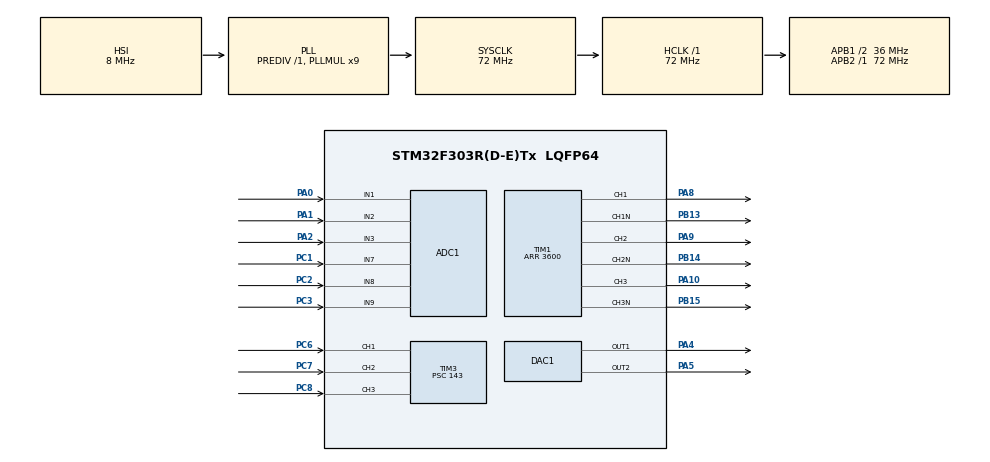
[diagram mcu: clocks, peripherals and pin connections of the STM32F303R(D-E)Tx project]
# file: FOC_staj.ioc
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ADC1.EnableRegularConversion=DISABLE
ADC1.ExternalTrigInjecConv=ADC_EXTERNALTRIGINJECCONV_T1_CC4
ADC1.ExternalTrigInjecConvEdge=ADC_EXTERNALTRIGINJECCONV_EDGE_RISING
ADC1.InjNumberOfConversion=4
ADC1.InjectedChannel-13\#ChannelInjectedConversion=ADC_CHANNEL_2
ADC1.InjectedChannel-7\#ChannelInjectedConversion=ADC_CHANNEL_7
ADC1.InjectedChannel-8\#ChannelInjectedConversion=ADC_CHANNEL_8
ADC1.InjectedChannel-9\#ChannelInjectedConversion=ADC_CHANNEL_9
ADC1.InjectedConvMode=None
ADC1.InjectedOffset-13\#ChannelInjectedConversion=0
ADC1.InjectedOffset-7\#ChannelInjectedConversion=0
ADC1.InjectedOffset-8\#ChannelInjectedConversion=0
ADC1.InjectedOffset-9\#ChannelInjectedConversion=0
ADC1.InjectedOffsetNumber-13\#ChannelInjectedConversion=ADC_OFFSET_NONE
ADC1.InjectedOffsetNumber-7\#ChannelInjectedConversion=ADC_OFFSET_NONE
ADC1.InjectedOffsetNumber-8\#ChannelInjectedConversion=ADC_OFFSET_NONE
ADC1.InjectedOffsetNumber-9\#ChannelInjectedConversion=ADC_OFFSET_NONE
ADC1.InjectedRank-13\#ChannelInjectedConversion=4
ADC1.InjectedRank-7\#ChannelInjectedConversion=1
ADC1.InjectedRank-8\#ChannelInjectedConversion=2
ADC1.InjectedRank-9\#ChannelInjectedConversion=3
ADC1.InjectedSamplingTime-13\#ChannelInjectedConversion=ADC_SAMPLETIME_1CYCLE_5
ADC1.InjectedSamplingTime-7\#ChannelInjectedConversion=ADC_SAMPLETIME_4CYCLES_5
ADC1.InjectedSamplingTime-8\#ChannelInjectedConversion=ADC_SAMPLETIME_4CYCLES_5
ADC1.InjectedSamplingTime-9\#ChannelInjectedConversion=ADC_SAMPLETIME_4CYCLES_5
ADC1.InjectedSamplingTimeOPAMP-13\#ChannelInjectedConversion=ADC_SAMPLETIME_19CYCLES_5
ADC1.InjectedSamplingTimeOPAMP-7\#ChannelInjectedConversion=ADC_SAMPLETIME_61CYCLES_5
ADC1.InjectedSamplingTimeOPAMP-8\#ChannelInjectedConversion=ADC_SAMPLETIME_61CYCLES_5
ADC1.InjectedSamplingTimeOPAMP-9\#ChannelInjectedConversion=ADC_SAMPLETIME_61CYCLES_5
ADC1.QueueInjectedContext=DISABLE
ADC1.Rank4_Channel=ADC_CHANNEL_2
ADC1.master=1
Mcu.Family=STM32F3
Mcu.Name=STM32F303R(D-E)Tx
Mcu.Package=LQFP64
NVIC.ADC1_2_IRQn=true\:1\:0\:true\:false\:true\:true\:true\:true
NVIC.PriorityGroup=NVIC_PRIORITYGROUP_4
NVIC.TIM1_CC_IRQn=true\:0\:0\:true\:false\:true\:true\:true\:true
NVIC.TIM3_IRQn=true\:2\:0\:true\:false\:true\:true\:true\:true
PA0.Mode=IN1-Single-Ended
PA0.Signal=ADC1_IN1
PA1.Mode=IN2-Single-Ended
PA1.Signal=ADC1_IN2
PA10.Signal=S_TIM1_CH3
PA13.Mode=Serial_Wire
PA13.Signal=SYS_JTMS-SWDIO
PA14.Mode=Serial_Wire
PA14.Signal=SYS_JTCK-SWCLK
PA2.Mode=IN3-Single-Ended
PA2.Signal=ADC1_IN3
PA4.Signal=COMP_DAC11_group
PA5.Signal=COMP_DAC12_group
PA8.Signal=S_TIM1_CH1
PA9.Signal=S_TIM1_CH2
PB13.Mode=PWM Generation1 CH1 CH1N
PB13.Signal=TIM1_CH1N
PB14.Mode=PWM Generation2 CH2 CH2N
PB14.Signal=TIM1_CH2N
PB15.Mode=PWM Generation3 CH3 CH3N
PB15.Signal=TIM1_CH3N
PC1.Signal=ADCx_IN7
PC2.Signal=ADCx_IN8
PC3.Signal=ADCx_IN9
PC6.Signal=S_TIM3_CH1
PC7.Signal=S_TIM3_CH2
PC8.Signal=S_TIM3_CH3
ProjectManager.HeapSize=0x200
ProjectManager.StackSize=0x400
ProjectManager.TargetToolchain=STM32CubeIDE
RCC.AHBFreq_Value=72000000
RCC.APB1CLKDivider=RCC_HCLK_DIV2
RCC.APB1Freq_Value=36000000
RCC.APB1TimFreq_Value=72000000
RCC.APB2Freq_Value=72000000
RCC.APB2TimFreq_Value=72000000
RCC.CortexFreq_Value=72000000
RCC.HCLKFreq_Value=72000000
RCC.HSE_VALUE=8000000
RCC.HSI_VALUE=8000000
RCC.LSE_VALUE=32768
RCC.PLLMUL=RCC_PLL_MUL9
RCC.SYSCLKFreq_VALUE=72000000
RCC.SYSCLKSourceVirtual=RCC_SYSCLKSOURCE_PLLCLK
RCC.TIM1Selection=RCC_TIM1CLK_PLLCLK
RCC.USBFreq_Value=72000000
SH.ADCx_IN7.0=ADC1_IN7,IN7-Single-Ended
SH.ADCx_IN8.0=ADC1_IN8,IN8-Single-Ended
SH.ADCx_IN9.0=ADC1_IN9,IN9-Single-Ended
SH.COMP_DAC11_group.0=DAC1_OUT1,DAC_OUT1
SH.COMP_DAC12_group.0=DAC1_OUT2,Enable_DAC_OUT2
SH.S_TIM1_CH1.0=TIM1_CH1,PWM Generation1 CH1 CH1N
SH.S_TIM1_CH2.0=TIM1_CH2,PWM Generation2 CH2 CH2N
SH.S_TIM1_CH3.0=TIM1_CH3,PWM Generation3 CH3 CH3N
SH.S_TIM3_CH1.0=TIM3_CH1,Xored_Inputs_Hall_Sensor_Interface
SH.S_TIM3_CH2.0=TIM3_CH2,Xored_Inputs_Hall_Sensor_Interface
SH.S_TIM3_CH3.0=TIM3_CH3,Xored_Inputs_Hall_Sensor_Interface
TIM1.Channel-Output\ Compare4\ No\ Output=TIM_CHANNEL_4
TIM1.Channel-PWM\ Generation1\ CH1\ CH1N=TIM_CHANNEL_1
TIM1.Channel-PWM\ Generation2\ CH2\ CH2N=TIM_CHANNEL_2
TIM1.Channel-PWM\ Generation3\ CH3\ CH3N=TIM_CHANNEL_3
TIM1.CounterMode=TIM_COUNTERMODE_CENTERALIGNED1
TIM1.DeadTime=42
TIM1.OCMode_4=TIM_OCMODE_TOGGLE
TIM1.Period=3600
TIM1.Pulse-Output\ Compare4\ No\ Output=3595
TIM1.RepetitionCounter=1
TIM1.TIM_MasterOutputTrigger=TIM_TRGO_OC4REF
TIM1.TIM_MasterSlaveMode=TIM_MASTERSLAVEMODE_DISABLE
TIM3.IC1Filter=15
TIM3.Prescaler=143
VP_TIM1_VS_no_output4.Mode=Output Compare4 No Output
board=custom

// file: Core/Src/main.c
/* USER CODE BEGIN Header */
/**
  ******************************************************************************
  * @file           : main.c
  * @brief          : Main program body
  ******************************************************************************
  * @attention
  *
  * Copyright (c) 2026 STMicroelectronics.
  * All rights reserved.
  *
  * This software is licensed under terms that can be found in the LICENSE file
  * in the root directory of this software component.
  * If no LICENSE file comes with this software, it is provided AS-IS.
  *
  ******************************************************************************
  */
/* USER CODE END Header */
#include "main.h"

/* USER CODE BEGIN Includes */

#include "acildurum.h"
#include "analog_veri_okuma.h"

#if SPEED_TEST
#include "test_spd.h"
#endif
#if DQ_TEST
#include "test_dq.h"
#endif
#if TEST
#include "test.h"
#endif
/* USER CODE END Includes */

ADC_HandleTypeDef hadc1;

DAC_HandleTypeDef hdac1;

TIM_HandleTypeDef htim1;
TIM_HandleTypeDef htim3;

/* USER CODE BEGIN PV */

/**
 * @brief Filtrelenmiş DC bara (VBUS) gerilimi [V].
 * @note  `HAL_ADCEx_InjectedConvCpltCallback()` içinde alçak geçiren
 *        filtre ile güncellenir (bkz. foc_interrupt.c).
 */
volatile float_t V_dc = 28.0f;

/** @brief VBUS ölçüm gerilim bölücüsünün (voltage divider) oranı. */
float_t VBUS_DIVIDER_RATIO = 19.25f;

/**
 * @brief  Uygulamadaki motorun (Motor 1) tüm durum, parametre, PI
 *         regülatörü, gözlemci ve donanım bağlantı bilgilerini tutan
 *         ana `motor` yapısı örneği.
 *
 * Burada verilen başlangıç değerleri; Hall ofseti, kutup çifti sayısı,
 * akım sensörü ofsetleri, hız/akım PI kazançları, Hall periyodu asimetri
 * kompanzasyon tablosu (`hall_comp_lut`) ve ilgili zamanlayıcı/ADC/GPIO
 * donanım eşleştirmelerini (PWM_TIMER, HALL_TIMER, ADC_TIMER, Hall
 * pinleri) içerir.
 */
motor MOTOR_1= {
	.STATUS = {
		.ALIGNED = false,
		.HALL_ERROR_0 = 0,
		.HALL_ERROR_7 = 0,
		.STOPPED_FAULT = false,
		.STOPPED_FAULT_COUNT = 0,
		.STOPPED = true,
		.STOPPED_TIMEOUT = 300,
		.rotor_angle = 0,
		.rotor_angle_interp = 0,
		.rotor_rpm = 0,
		.hall_rpm = 0,
		.kama_rpm = 0,
		.Id_curr = 0.0f,
		.Iq_curr = 0.0f,
		.Ia_curr = 0.0f,
		.Ib_curr = 0.0f,
		.Ic_curr = 0.0f,
		.Ia_curr_map = 0.0f,
		.Ib_curr_map = 0.0f,
		.Ic_curr_map = 0.0f,
		.spdcnt = 0,
		.READY = false,
		.tim = 0,
		.tim_last = 0,
		.hall_state = 0,
		.PWM_A_DUTY =  0,
		.PWM_B_DUTY =  0,
		.PWM_C_DUTY =  0,
		.period = 0,
		.MOE_ENABLE = 1,
		.rotor_accel = 0,
		.gecersiz_hall_okumasi = 0,
		.BRAKE = false,
		.advance_angle = 0,
		.inst_rpm = 0,
		.I_alpha = 0,
		.I_beta = 0,
	},
	.PARAMS = {
		.NUM_OF_POLE_PAIRS = 2,
		.HALL_OFSET = 90,
		.MAX_RPM_ACCEL = 0,
		.Ia_offset = 1990.0f,
		.Ib_offset = 1999.0f,
		.Ic_offset = 2005.0f,
		.MIN_RPM = 400,
		.MAX_RPM = 9000,
		.CIRCULAR_LIM = true,
		.HIGH_Z_BREAK = true,
		.Ls = 0.0000321f,
		.psi_m =0.007518f,
		.FF = true,
		.omega_e = 0,
		.FW = false,
		.FW_main = false,
		.FW_CONSTANT = 0.015f,
		.hall_comp_lut = {
		                1.000f, 1.000f, 1.000f, 1.000f, 1.000f, 1.000f, 1.000f
		        },
		.Rs = 0.1265f,
		.MAX_WO_FW = 8800,
		.SHUNT_DIVIDER_RATIO = 33.132f,
		.SPEED_PI = {
				.SPEED_LOOP_PERIOD_MS = 5U,
				.SPEED_INTEGRAL_LIM = 400.0f,
				.Speed_integral = 0,
				.IQ_REF_LIMIT = 20.0f,
				.kp = 0.0015f,
				.ki = 0.00015f,
				.E = 0,

			},
		.DQ_PI = {
			.Id_integral_lim = 2800.0f,
			.Iq_integral_lim = 2800.0f,
			.Iq_integral = 0.0f,
			.Id_integral = 0.0f,
			.Id_kp = 0.02f,
			.Id_ki = 0.012f,
			.Iq_kp = 0.02f,
			.Iq_ki = 0.012f,
			.Iq_E = 0.0f,
			.Id_E = 0.0f,
			.Vq_ff = 0,
			.Vd_ff = 0,
		},
		.ERROR_PI = {
			.kp = 0.005f,
			.ki = 3.0f,
			.integral = 0.0f,
			.integral_lim = 90.0f,
			.error = 0.0f,
			.output = 0.0f
		},
	},

	.OUT = {
		.A = TIM_CHANNEL_1,
		.B = TIM_CHANNEL_2,
		.C = TIM_CHANNEL_3,
		.E_d = 0,
		.E_q = 0,
		.Va = 0,
		.Vb = 0,
		.Vc = 0,
		.V_alpha = 0,
		.V_beta = 0,

	},
	.TIMER = {
		.PWM_TIMER = &htim1,
		.HALL_TIMER = &htim3,
		.ADC_TIMER = &hadc1,
	},
	.IN = {
		.HALL = {
			.CHANNEL = GPIOC,
			.A = GPIO_PIN_6,
			.B = GPIO_PIN_7,
			.C = GPIO_PIN_8,
		},
		.SHUNT_CH = &hadc1,
	},
	.PWM = {
		.A = 0,
		.B = 0,
		.C = 0
	},
	.SVPWM = {
		.A = 0,
		.B = 0,
		.C = 0
	},
	.REF = {
		.Id = 0,
		.Iq = 0,
		.RPM = 0,
		.RPM_cur = 0,
		.STEP = 20,
	},

	.OBSERVER = {
		.hall_direction = 0,
		.prev_hall = 0,
		.prev_rpm = 0,
		.prev2_rpm = 0,
		.prev3_rpm = 0,
		.rpm_filter_stage1 = 0,
		.filtered_fw_rpm = 0,
		.prev_angle_interp = 0,

	},
	.DIAG = {
		.shunt_akim_kaymasi = 0,
		.shunt_sagligi = 0,
		.speed_error = 0,
		.id_error = 0,
		.iq_error = 0,
		.angle_error = 0,
		.mod_index = 0,
		.power_w = 0,
		.foc_time_us = 0,
		.hall_time_us = 0,
		.hall_period_jitter = 0,
	},
};

/**
 * @brief 0-359° için önceden hesaplanmış sinüs değerleri arama tablosu
 *        (LUT). `sin_lut_hesapla()` ile doldurulur, `get_sin_cos_fast()`
 *        tarafından okunur.
 */
float_t sin_lut[360];
/** @brief VBUS örneklemesiyle ilgili son işlem zaman damgası (şu an kullanılmıyor). */
uint32_t last_vbus_tick = 0;

#if SIMULATE_MOTOR
/** @brief Motor simülasyonunda kullanılan sanal RPM değeri (SIMULATE_MOTOR açıkken). */
uint16_t sanal_rpm = 100;
/** @brief Simülasyon açı sayacı (SIMULATE_MOTOR açıkken). */
uint16_t timer = 0;
/** @brief Simülasyonda kullanılan salınım parametresi (SIMULATE_MOTOR açıkken). */
float_t salinim = 500;
/** @brief Simüle edilen motor hızı [RPM] (SIMULATE_MOTOR açıkken). */
volatile float_t sim_rpm = 0.0f;
/** @brief Simülasyon motor modelinin moment/hız kazancı (SIMULATE_MOTOR açıkken). */
volatile float_t K_TORQUE = 300.0f;
/** @brief Simülasyon motor modelinin sürtünme katsayısı (SIMULATE_MOTOR açıkken). */
volatile float_t FRICTION = 0.5f;
/** @brief Simülasyon yardımcı değişkeni (SIMULATE_MOTOR açıkken). */
uint8_t a = 0;
#endif

#if TEST || DQ_TEST || SPEED_TEST
/** @brief Test durum makinesinde bir önceki adımın zaman damgası. */
uint32_t sweep_last_tick = 0;
/** @brief İlgili testin başlayıp başlamadığını belirten bayrak. */
uint8_t sweep_started = 0;
/** @brief İlgili testin durum makinesi aşaması (0/1/2/3 = devam, 4 = tamam). */
uint8_t sweep_done = 0;
/** @brief Test fonksiyonlarına ortak arayüz için ayrılmış, kullanılmayan parametre. */
uint16_t new_tim;
#endif
/* USER CODE END PV */

void SystemClock_Config(void);
static void MX_GPIO_Init(void);
static void MX_ADC1_Init(void);
static void MX_TIM1_Init(void);
static void MX_TIM3_Init(void);
static void MX_DAC1_Init(void);

/* USER CODE BEGIN 0 */

/**
 * @brief  0-359° aralığındaki her tam derece için sinüs değerini önceden
 *         hesaplayıp `array` içine yazar (arama tablosu/LUT doldurma).
 *
 * @param  array  En az 360 elemanlı, doldurulacak float dizisi
 *                (tipik olarak `sin_lut`).
 *
 * @note   Kosinüs ayrıca hesaplanmaz; `get_sin_cos_fast()` aynı tablodan
 *         90° kaydırma ile kosinüs değerini de türetir.
 */
static inline void sin_lut_hesapla(float_t *array)
{
    for (int16_t i = 0; i < 360; i++) {
        array[i] = sinf((float_t)i * (float_t)(PI / 180.0f));
    }
}

/* USER CODE END 0 */

int main(void)
{

  /* USER CODE BEGIN 1 */

	/* Sinüs/kosinüs arama tablosunu (LUT) başlangıçta bir kez hesapla. */
	sin_lut_hesapla(sin_lut);
  /* USER CODE END 1 */

  /* MCU Configuration--------------------------------------------------------*/

  /* Reset of all peripherals, Initializes the Flash interface and the Systick. */
  HAL_Init();

  /* USER CODE BEGIN Init */
  CoreDebug->DEMCR |= CoreDebug_DEMCR_TRCENA_Msk;
  DWT->CYCCNT = 0;
  DWT->CTRL |= DWT_CTRL_CYCCNTENA_Msk;
  /* USER CODE END Init */

  /* Configure the system clock */
  SystemClock_Config();

  /* Initialize all configured peripherals */
  MX_GPIO_Init();
  MX_ADC1_Init();
  MX_TIM1_Init();
  MX_TIM3_Init();
  MX_DAC1_Init();
  /* USER CODE BEGIN 2 */

  /* Faz PWM çıkışlarını (ve varsa tümleyen N kanallarını) başlat. */
#if (PWM_OUT == true || SVPWM_OUT == true)
  HAL_TIM_PWM_Start(&htim1, MOTOR_1.OUT.A);
  HAL_TIM_PWM_Start(&htim1, MOTOR_1.OUT.B);
  HAL_TIM_PWM_Start(&htim1, MOTOR_1.OUT.C);

  HAL_TIMEx_PWMN_Start(&htim1, MOTOR_1.OUT.A);
  HAL_TIMEx_PWMN_Start(&htim1, MOTOR_1.OUT.B);
  HAL_TIMEx_PWMN_Start(&htim1, MOTOR_1.OUT.C);
#endif

  HAL_TIM_OC_Start(&htim1, TIM_CHANNEL_4); //Vbus adc

  /* PWM çıkışlarını fiziksel olarak etkinleştir (Master Output Enable). */
  __HAL_TIM_MOE_ENABLE(&htim1);

  /* Hall sensör input-capture kesmesini ve enjekte edilmiş ADC dönüşümünü
   * kesme (interrupt) modunda başlat. */
  HAL_TIMEx_HallSensor_Start_IT(&htim3);
  HAL_ADCEx_InjectedStart_IT(&hadc1);
#if (DAC_OUT == true)
  HAL_DAC_Start(&hdac1, DAC_CHANNEL_1);
  HAL_DAC_Start(&hdac1, DAC_CHANNEL_2);
#endif

  MOTOR_1.PARAMS.DQ_PI.inv_Iq_ki = 1.0f / MOTOR_1.PARAMS.DQ_PI.Iq_ki;
  MOTOR_1.PARAMS.DQ_PI.inv_Id_ki = 1.0f / MOTOR_1.PARAMS.DQ_PI.Id_ki;
  MOTOR_1.PARAMS.SHUNT_MULT = (-2.0f * MOTOR_1.PARAMS.SHUNT_DIVIDER_RATIO) * 0.00024420024f;
  MOTOR_1.PARAMS.INV_SHUNT_DIVIDER_RATIO = 1.0f/MOTOR_1.PARAMS.SHUNT_DIVIDER_RATIO;

  /* Motoru başlangıç Hall pozisyonuna hizala, ardından akım sensörü
   * sıfır-nokta ofsetlerini kalibre et (2000 örnek). */

  Align_Motor(&MOTOR_1);
  Analog_Calibrate_Offsets(&MOTOR_1, 2000);

#if TEST || DQ_TEST || SPEED_TEST
  uint32_t system_start_tick = HAL_GetTick();
#endif

  /* USER CODE END 2 */

  /* Infinite loop */
  while (1)
  {

    /* USER CODE BEGIN 3 */

	  /* Ana döngüde sürekli olarak arıza/acil durdurma koşullarını ve
	   * alan zayıflatma gerekliliğini kontrol et (bkz. acildurum.c).
	   * Gerçek FOC hesaplaması ise ayrı bir kesme içinde (bkz.
	   * foc_interrupt.c / hall_interrupt.c) yürütülür. */
	  acildurum(&MOTOR_1);

	  /* Derleme zamanı seçimine göre (en fazla biri aktif) PI kazanç
	   * tarama testlerinden birini çalıştır. */
#if DQ_TEST
	  test_dq_pi(&MOTOR_1, &sweep_started, &sweep_done, &new_tim, &sweep_last_tick, system_start_tick);
#elif SPEED_TEST
	  test_speed_pi(&MOTOR_1, &sweep_started, &sweep_done, &new_tim, &sweep_last_tick, system_start_tick);
#elif TEST
	  test(&MOTOR_1, &sweep_started, &sweep_done, &new_tim, &sweep_last_tick, system_start_tick);
#endif

	        }

  /* USER CODE END 3 */
}

void SystemClock_Config(void)
{
  RCC_OscInitTypeDef RCC_OscInitStruct = {0};
  RCC_ClkInitTypeDef RCC_ClkInitStruct = {0};
  RCC_PeriphCLKInitTypeDef PeriphClkInit = {0};

  /** Initializes the RCC Oscillators according to the specified parameters
  * in the RCC_OscInitTypeDef structure.
  */
  RCC_OscInitStruct.OscillatorType = RCC_OSCILLATORTYPE_HSI;
  RCC_OscInitStruct.HSIState = RCC_HSI_ON;
  RCC_OscInitStruct.HSICalibrationValue = RCC_HSICALIBRATION_DEFAULT;
  RCC_OscInitStruct.PLL.PLLState = RCC_PLL_ON;
  RCC_OscInitStruct.PLL.PLLSource = RCC_PLLSOURCE_HSI;
  RCC_OscInitStruct.PLL.PLLMUL = RCC_PLL_MUL9;
  RCC_OscInitStruct.PLL.PREDIV = RCC_PREDIV_DIV1;
  if (HAL_RCC_OscConfig(&RCC_OscInitStruct) != HAL_OK)
  {
    Error_Handler();
  }

  /** Initializes the CPU, AHB and APB buses clocks
  */
  RCC_ClkInitStruct.ClockType = RCC_CLOCKTYPE_HCLK|RCC_CLOCKTYPE_SYSCLK
                              |RCC_CLOCKTYPE_PCLK1|RCC_CLOCKTYPE_PCLK2;
  RCC_ClkInitStruct.SYSCLKSource = RCC_SYSCLKSOURCE_PLLCLK;
  RCC_ClkInitStruct.AHBCLKDivider = RCC_SYSCLK_DIV1;
  RCC_ClkInitStruct.APB1CLKDivider = RCC_HCLK_DIV2;
  RCC_ClkInitStruct.APB2CLKDivider = RCC_HCLK_DIV1;

  if (HAL_RCC_ClockConfig(&RCC_ClkInitStruct, FLASH_LATENCY_2) != HAL_OK)
  {
    Error_Handler();
  }
  PeriphClkInit.PeriphClockSelection = RCC_PERIPHCLK_TIM1|RCC_PERIPHCLK_ADC12
                              |RCC_PERIPHCLK_TIM34;
  PeriphClkInit.Adc12ClockSelection = RCC_ADC12PLLCLK_DIV1;
  PeriphClkInit.Tim1ClockSelection = RCC_TIM1CLK_PLLCLK;
  PeriphClkInit.Tim34ClockSelection = RCC_TIM34CLK_HCLK;
  if (HAL_RCCEx_PeriphCLKConfig(&PeriphClkInit) != HAL_OK)
  {
    Error_Handler();
  }
}

static void MX_ADC1_Init(void)
{

  ADC_MultiModeTypeDef multimode = {0};
  ADC_InjectionConfTypeDef sConfigInjected = {0};

  /** Common config
  */
  hadc1.Instance = ADC1;
  hadc1.Init.ClockPrescaler = ADC_CLOCK_ASYNC_DIV1;
  hadc1.Init.Resolution = ADC_RESOLUTION_12B;
  hadc1.Init.ScanConvMode = ADC_SCAN_ENABLE;
  hadc1.Init.ContinuousConvMode = DISABLE;
  hadc1.Init.DiscontinuousConvMode = DISABLE;
  hadc1.Init.DataAlign = ADC_DATAALIGN_RIGHT;
  hadc1.Init.NbrOfConversion = 1;
  hadc1.Init.DMAContinuousRequests = DISABLE;
  hadc1.Init.EOCSelection = ADC_EOC_SINGLE_CONV;
  hadc1.Init.LowPowerAutoWait = DISABLE;
  hadc1.Init.Overrun = ADC_OVR_DATA_OVERWRITTEN;
  if (HAL_ADC_Init(&hadc1) != HAL_OK)
  {
    Error_Handler();
  }

  /** Configure the ADC multi-mode
  */
  multimode.Mode = ADC_MODE_INDEPENDENT;
  if (HAL_ADCEx_MultiModeConfigChannel(&hadc1, &multimode) != HAL_OK)
  {
    Error_Handler();
  }

  /** Configure Injected Channel
  */
  sConfigInjected.InjectedChannel = ADC_CHANNEL_7;
  sConfigInjected.InjectedRank = ADC_INJECTED_RANK_1;
  sConfigInjected.InjectedSingleDiff = ADC_SINGLE_ENDED;
  sConfigInjected.InjectedNbrOfConversion = 4;
  sConfigInjected.InjectedSamplingTime = ADC_SAMPLETIME_4CYCLES_5;
  sConfigInjected.ExternalTrigInjecConvEdge = ADC_EXTERNALTRIGINJECCONV_EDGE_RISING;
  sConfigInjected.ExternalTrigInjecConv = ADC_EXTERNALTRIGINJECCONV_T1_CC4;
  sConfigInjected.AutoInjectedConv = DISABLE;
  sConfigInjected.InjectedDiscontinuousConvMode = DISABLE;
  sConfigInjected.QueueInjectedContext = DISABLE;
  sConfigInjected.InjectedOffset = 0;
  sConfigInjected.InjectedOffsetNumber = ADC_OFFSET_NONE;
  if (HAL_ADCEx_InjectedConfigChannel(&hadc1, &sConfigInjected) != HAL_OK)
  {
    Error_Handler();
  }

  /** Configure Injected Channel
  */
  sConfigInjected.InjectedChannel = ADC_CHANNEL_8;
  sConfigInjected.InjectedRank = ADC_INJECTED_RANK_2;
  if (HAL_ADCEx_InjectedConfigChannel(&hadc1, &sConfigInjected) != HAL_OK)
  {
    Error_Handler();
  }

  /** Configure Injected Channel
  */
  sConfigInjected.InjectedChannel = ADC_CHANNEL_9;
  sConfigInjected.InjectedRank = ADC_INJECTED_RANK_3;
  if (HAL_ADCEx_InjectedConfigChannel(&hadc1, &sConfigInjected) != HAL_OK)
  {
    Error_Handler();
  }

  /** Configure Injected Channel
  */
  sConfigInjected.InjectedChannel = ADC_CHANNEL_2;
  sConfigInjected.InjectedRank = ADC_INJECTED_RANK_4;
  sConfigInjected.InjectedSamplingTime = ADC_SAMPLETIME_1CYCLE_5;
  if (HAL_ADCEx_InjectedConfigChannel(&hadc1, &sConfigInjected) != HAL_OK)
  {
    Error_Handler();
  }

}

static void MX_DAC1_Init(void)
{

  DAC_ChannelConfTypeDef sConfig = {0};

  /** DAC Initialization
  */
  hdac1.Instance = DAC1;
  if (HAL_DAC_Init(&hdac1) != HAL_OK)
  {
    Error_Handler();
  }

  /** DAC channel OUT1 config
  */
  sConfig.DAC_Trigger = DAC_TRIGGER_NONE;
  sConfig.DAC_OutputBuffer = DAC_OUTPUTBUFFER_ENABLE;
  if (HAL_DAC_ConfigChannel(&hdac1, &sConfig, DAC_CHANNEL_1) != HAL_OK)
  {
    Error_Handler();
  }

  /** DAC channel OUT2 config
  */
  if (HAL_DAC_ConfigChannel(&hdac1, &sConfig, DAC_CHANNEL_2) != HAL_OK)
  {
    Error_Handler();
  }

}

static void MX_TIM1_Init(void)
{

  TIM_MasterConfigTypeDef sMasterConfig = {0};
  TIM_OC_InitTypeDef sConfigOC = {0};
  TIM_BreakDeadTimeConfigTypeDef sBreakDeadTimeConfig = {0};

  htim1.Instance = TIM1;
  htim1.Init.Prescaler = 0;
  htim1.Init.CounterMode = TIM_COUNTERMODE_CENTERALIGNED1;
  htim1.Init.Period = 3600;
  htim1.Init.ClockDivision = TIM_CLOCKDIVISION_DIV1;
  htim1.Init.RepetitionCounter = 1;
  htim1.Init.AutoReloadPreload = TIM_AUTORELOAD_PRELOAD_DISABLE;
  if (HAL_TIM_PWM_Init(&htim1) != HAL_OK)
  {
    Error_Handler();
  }
  if (HAL_TIM_OC_Init(&htim1) != HAL_OK)
  {
    Error_Handler();
  }
  sMasterConfig.MasterOutputTrigger = TIM_TRGO_OC4REF;
  sMasterConfig.MasterOutputTrigger2 = TIM_TRGO2_RESET;
  sMasterConfig.MasterSlaveMode = TIM_MASTERSLAVEMODE_DISABLE;
  if (HAL_TIMEx_MasterConfigSynchronization(&htim1, &sMasterConfig) != HAL_OK)
  {
    Error_Handler();
  }
  sConfigOC.OCMode = TIM_OCMODE_PWM1;
  sConfigOC.Pulse = 0;
  sConfigOC.OCPolarity = TIM_OCPOLARITY_HIGH;
  sConfigOC.OCNPolarity = TIM_OCNPOLARITY_HIGH;
  sConfigOC.OCFastMode = TIM_OCFAST_DISABLE;
  sConfigOC.OCIdleState = TIM_OCIDLESTATE_RESET;
  sConfigOC.OCNIdleState = TIM_OCNIDLESTATE_RESET;
  if (HAL_TIM_PWM_ConfigChannel(&htim1, &sConfigOC, TIM_CHANNEL_1) != HAL_OK)
  {
    Error_Handler();
  }
  if (HAL_TIM_PWM_ConfigChannel(&htim1, &sConfigOC, TIM_CHANNEL_2) != HAL_OK)
  {
    Error_Handler();
  }
  if (HAL_TIM_PWM_ConfigChannel(&htim1, &sConfigOC, TIM_CHANNEL_3) != HAL_OK)
  {
    Error_Handler();
  }
  sConfigOC.OCMode = TIM_OCMODE_TOGGLE;
  sConfigOC.Pulse = 3595;
  if (HAL_TIM_OC_ConfigChannel(&htim1, &sConfigOC, TIM_CHANNEL_4) != HAL_OK)
  {
    Error_Handler();
  }
  sBreakDeadTimeConfig.OffStateRunMode = TIM_OSSR_DISABLE;
  sBreakDeadTimeConfig.OffStateIDLEMode = TIM_OSSI_DISABLE;
  sBreakDeadTimeConfig.LockLevel = TIM_LOCKLEVEL_OFF;
  sBreakDeadTimeConfig.DeadTime = 42;
  sBreakDeadTimeConfig.BreakState = TIM_BREAK_DISABLE;
  sBreakDeadTimeConfig.BreakPolarity = TIM_BREAKPOLARITY_HIGH;
  sBreakDeadTimeConfig.BreakFilter = 0;
  sBreakDeadTimeConfig.Break2State = TIM_BREAK2_DISABLE;
  sBreakDeadTimeConfig.Break2Polarity = TIM_BREAK2POLARITY_HIGH;
  sBreakDeadTimeConfig.Break2Filter = 0;
  sBreakDeadTimeConfig.AutomaticOutput = TIM_AUTOMATICOUTPUT_DISABLE;
  if (HAL_TIMEx_ConfigBreakDeadTime(&htim1, &sBreakDeadTimeConfig) != HAL_OK)
  {
    Error_Handler();
  }
  HAL_TIM_MspPostInit(&htim1);

}

static void MX_TIM3_Init(void)
{

  TIM_HallSensor_InitTypeDef sConfig = {0};
  TIM_MasterConfigTypeDef sMasterConfig = {0};

  htim3.Instance = TIM3;
  htim3.Init.Prescaler = 143;
  htim3.Init.CounterMode = TIM_COUNTERMODE_UP;
  htim3.Init.Period = 65535;
  htim3.Init.ClockDivision = TIM_CLOCKDIVISION_DIV1;
  htim3.Init.AutoReloadPreload = TIM_AUTORELOAD_PRELOAD_DISABLE;
  sConfig.IC1Polarity = TIM_ICPOLARITY_RISING;
  sConfig.IC1Prescaler = TIM_ICPSC_DIV1;
  sConfig.IC1Filter = 15;
  sConfig.Commutation_Delay = 0;
  if (HAL_TIMEx_HallSensor_Init(&htim3, &sConfig) != HAL_OK)
  {
    Error_Handler();
  }
  sMasterConfig.MasterOutputTrigger = TIM_TRGO_OC2REF;
  sMasterConfig.MasterSlaveMode = TIM_MASTERSLAVEMODE_DISABLE;
  if (HAL_TIMEx_MasterConfigSynchronization(&htim3, &sMasterConfig) != HAL_OK)
  {
    Error_Handler();
  }

}

static void MX_GPIO_Init(void)
{

  /* GPIO Ports Clock Enable */
  __HAL_RCC_GPIOC_CLK_ENABLE();
  __HAL_RCC_GPIOA_CLK_ENABLE();
  __HAL_RCC_GPIOB_CLK_ENABLE();

}

void Error_Handler(void)
{
  __disable_irq();
  while (1)
  {
  }
}
